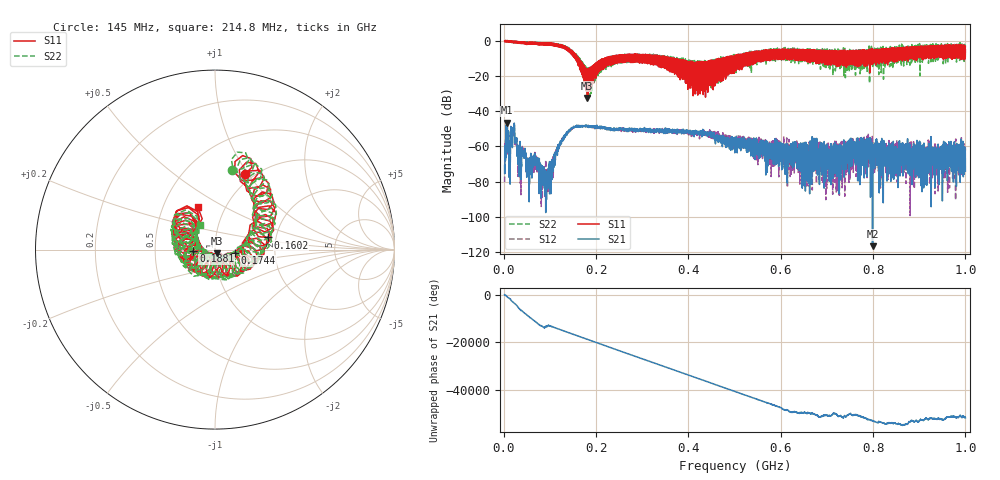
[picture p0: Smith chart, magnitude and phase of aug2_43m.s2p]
!Keysight Technologies N9923A: A.12.45
!Date: Saturday, 02 August 2025 19:58:36
!Timezone: (UTC+08:00) Kuala Lumpur, Singapore
!Model: N9923A
!Serial: MY61181427
!GPS Latitude:
!GPS Longitude:
!GPS TimeStamp: 0001-01-01 00:00:00Z
!GPS Seconds Since Last Read: 0
!CHECKSUM:0328016576
!Correction: S11(ON U)S21(ON U)S12(ON U)S22(ON U)
!S2P File: Measurements:S11,S21,S12,S22:
# Hz S DB R 50
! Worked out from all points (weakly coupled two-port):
!   4001 points, 2 MHz to 1 GHz, reference 50 ohm
!   highest |S21| = -46.55 dB at 7.489 MHz (marker M1); lowest = -116.7 dB at 798.9 MHz (marker M2)
!   lowest |S11| = -32.5 dB at 181.1 MHz (marker M3), VSWR 1.05, Z = 51 - j2.15 ohm
!   |S11| at or under -10 dB: 162.3 MHz to 218.5 MHz (56.16 MHz wide, 29.5 % of centre); 218.6 MHz to 220.1 MHz (1.479 MHz wide, 0.674 % of centre); 369.5 MHz to 473 MHz (103.5 MHz wide, 24.6 % of centre) (the widest 3 of 359)
!   |S22| runs from -31.8 to 0.1 dB; largest |S21 - S12| = 0.0027
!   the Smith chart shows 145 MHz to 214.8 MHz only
!   S11 on the Smith chart (normalised r, x): 145 MHz: 0.91, +0.96; 160.2 MHz: 1.81, +0.27; 174.4 MHz: 1.25, -0.04; 188.1 MHz: 0.78, -0.01; 214.8 MHz: 0.74, +0.38
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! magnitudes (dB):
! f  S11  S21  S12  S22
! 2 MHz  -0.1  -70.9  -80.4  -0.1
! 7.489 MHz  -0.6  -46.6  -46.7  -0.8
! 19.96 MHz  -0.3  -53.5  -52.9  -0.1
! 33.94 MHz  -1.1  -73.4  -70.2  -0.9
! 43.92 MHz  -1.0  -64.5  -66.4  -1.0
! 51.9 MHz  -0.9  -71.0  -68.5  -0.8
! 92.32 MHz  -1.4  -79.5  -77.2  -1.2
! 145 MHz  -6.9  -49.9  -51.2  -6.8
! 160.2 MHz  -10.4  -48.3  -48.3  -11.1
! 168.4 MHz  -14.9  -48.3  -48.6  -15.9
! 174.4 MHz  -18.9  -48.2  -48.6  -15.1
! 181.1 MHz  -32.5  -48.8  -48.5  -19.4
! 188.1 MHz  -18.3  -48.8  -48.6  -25.6
! 214.8 MHz  -11.8  -49.2  -49.3  -15.7
! 334.8 MHz  -12.4  -51.5  -51.1  -8.7
! 415.4 MHz  -30.2  -50.9  -52.3  -13.2
! 501 MHz  -11.6  -59.0  -55.5  -12.7
! 667.4 MHz  -5.7  -65.7  -63.8  -9.6
! 798.9 MHz  -4.7  -116.7  -61.9  -10.6
! 833.8 MHz  -5.3  -64.8  -59.2  -5.2
! 968.6 MHz  -2.5  -57.2  -60.5  -5.5
! 1 GHz  -5.3  -74.1  -62.4  -1.8
